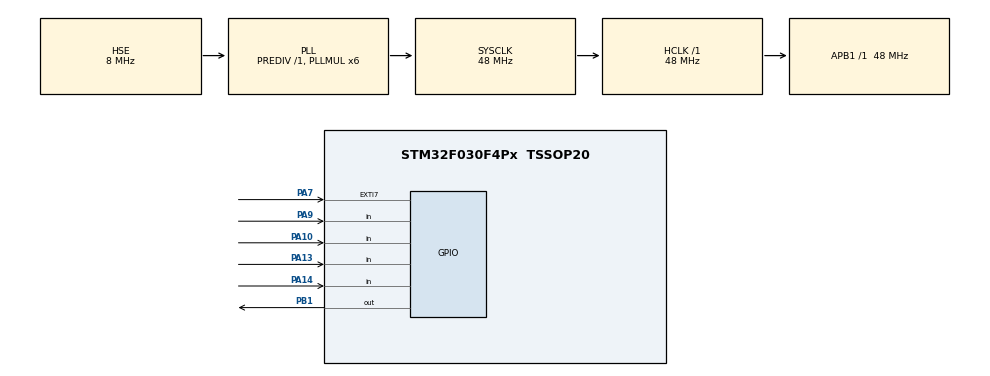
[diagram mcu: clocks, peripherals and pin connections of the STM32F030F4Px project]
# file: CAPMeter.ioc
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Mcu.Family=STM32F0
Mcu.Name=STM32F030F4Px
Mcu.Package=TSSOP20
NVIC.EXTI4_15_IRQn=true\:0\:0\:false\:false\:true
NVIC.TIM1_BRK_UP_TRG_COM_IRQn=true\:0\:0\:false\:false\:true
NVIC.TIM1_CC_IRQn=true\:0\:0\:false\:false\:true
PA10.Signal=GPIO_Input
PA13.Signal=GPIO_Input
PA14.Signal=GPIO_Input
PA7.GPIO_ModeDefaultEXTI=GPIO_MODE_IT_FALLING
PA7.GPIO_PuPd=GPIO_NOPULL
PA7.Signal=GPXTI7
PA9.Signal=GPIO_Input
PB1.GPIO_PuPd=GPIO_PULLDOWN
PB1.GPIO_Speed=GPIO_SPEED_FREQ_HIGH
PB1.PinState=GPIO_PIN_RESET
PB1.Signal=GPIO_Output
PF0-OSC_IN.Mode=HSE-External-Oscillator
PF0-OSC_IN.Signal=RCC_OSC_IN
PF1-OSC_OUT.Mode=HSE-External-Oscillator
PF1-OSC_OUT.Signal=RCC_OSC_OUT
ProjectManager.HeapSize=0x200
ProjectManager.StackSize=0x400
ProjectManager.TargetToolchain=TrueSTUDIO
RCC.AHBFreq_Value=48000000
RCC.APB1Freq_Value=48000000
RCC.APB1TimFreq_Value=48000000
RCC.HCLKFreq_Value=48000000
RCC.PLLMUL=RCC_PLL_MUL6
RCC.PLLSourceVirtual=RCC_PLLSOURCE_HSE
RCC.SYSCLKFreq_VALUE=48000000
RCC.SYSCLKSource=RCC_SYSCLKSOURCE_PLLCLK
TIM1.AutoReloadPreload=TIM_AUTORELOAD_PRELOAD_ENABLE
TIM1.Period=65535
TIM1.Prescaler=1
VP_TIM1_VS_ClockSourceINT.Mode=Internal
board=CAPMeter

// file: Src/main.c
/**
  ******************************************************************************
  * File Name          : main.c
  * Description        : Main program body
  ******************************************************************************
  *
  * COPYRIGHT(c) 2017 STMicroelectronics
  *
  * Redistribution and use in source and binary forms, with or without modification,
  * are permitted provided that the following conditions are met:
  *   1. Redistributions of source code must retain the above copyright notice,
  *      this list of conditions and the following disclaimer.
  *   2. Redistributions in binary form must reproduce the above copyright notice,
  *      this list of conditions and the following disclaimer in the documentation
  *      and/or other materials provided with the distribution.
  *   3. Neither the name of STMicroelectronics nor the names of its contributors
  *      may be used to endorse or promote products derived from this software
  *      without specific prior written permission.
  *
  * THIS SOFTWARE IS PROVIDED BY THE COPYRIGHT HOLDERS AND CONTRIBUTORS "AS IS"
  * AND ANY EXPRESS OR IMPLIED WARRANTIES, INCLUDING, BUT NOT LIMITED TO, THE
  * IMPLIED WARRANTIES OF MERCHANTABILITY AND FITNESS FOR A PARTICULAR PURPOSE ARE
  * DISCLAIMED. IN NO EVENT SHALL THE COPYRIGHT HOLDER OR CONTRIBUTORS BE LIABLE
  * FOR ANY DIRECT, INDIRECT, INCIDENTAL, SPECIAL, EXEMPLARY, OR CONSEQUENTIAL
  * DAMAGES (INCLUDING, BUT NOT LIMITED TO, PROCUREMENT OF SUBSTITUTE GOODS OR
  * SERVICES; LOSS OF USE, DATA, OR PROFITS; OR BUSINESS INTERRUPTION) HOWEVER
  * CAUSED AND ON ANY THEORY OF LIABILITY, WHETHER IN CONTRACT, STRICT LIABILITY,
  * OR TORT (INCLUDING NEGLIGENCE OR OTHERWISE) ARISING IN ANY WAY OUT OF THE USE
  * OF THIS SOFTWARE, EVEN IF ADVISED OF THE POSSIBILITY OF SUCH DAMAGE.
  *
  ******************************************************************************
  */
#include "main.h"
#include "stm32f0xx_hal.h"
#include <stdio.h>
#include <stdlib.h>
#include <stdarg.h>
#include <string.h>
#include <math.h>
/* USER CODE BEGIN Includes */
//#include "lcd_hd44780_stm32f0.h"

#define LCD_PORT_A
#define LCD_RS 0
#define LCD_E 1
#define LCD_RW 6
#define LCD_DB4 2
#define LCD_DB5 3
#define LCD_DB6 4
#define LCD_DB7 5
#include "LCDstm32.h"

/* USER CODE END Includes */

TIM_HandleTypeDef htim1;

/* USER CODE BEGIN PV */
/* Private variables ---------------------------------------------------------*/

/* USER CODE END PV */

void SystemClock_Config(void);
void Error_Handler(void);
static void MX_GPIO_Init(void);
static void MX_TIM1_Init(void);

/* USER CODE BEGIN PFP */
/* Private function prototypes -----------------------------------------------*/

/* USER CODE END PFP */

/* USER CODE BEGIN 0 */
uint32_t cnt = 0;
volatile char externalInterruptFlag = 0;
volatile char externalInterruptSettingFlag = 0;

void HAL_TIM_PeriodElapsedCallback(TIM_HandleTypeDef *htim)
{

	if (htim->Instance==TIM1)
      {

		cnt++;
		HAL_TIM_Base_Start_IT(&htim1);
      }
}

/* USER CODE END 0 */

#define SAMPLE_NUM	10
#define DELAY_FOR_EMPTY_CAP		1000
volatile uint32_t finalsample=0;
static float C0=1;
static float C=0;
static float Er=0;
volatile uint32_t T0=550;
static float distanceValue = 6;

uint32_t sampleing()
{
	uint32_t result=1;
	GPIOB->BSRR = (1<<1);
    HAL_Delay(DELAY_FOR_EMPTY_CAP);
    HAL_TIM_Base_Stop_IT(&htim1);
	GPIOB->BRR = (1<<1);
	__HAL_TIM_SET_COUNTER(&htim1 , 0);
	HAL_TIM_Base_Start_IT(&htim1);
	while(!externalInterruptFlag);
	HAL_TIM_Base_Stop_IT(&htim1);
	externalInterruptFlag=0;
	result = __HAL_TIM_GetCounter(&htim1)+ cnt*65536;
	cnt = 0;
	return result;
}

int main(void)
{
  uint32_t Dint=0;
  uint32_t Dfloat=0;

  /* MCU Configuration----------------------------------------------------------*/

  /* Reset of all peripherals, Initializes the Flash interface and the Systick. */
  GPIOA->MODER = 0x00000000;
  GPIOA->PUPDR = 0x00000000;
  HAL_Init();

  /* Configure the system clock */
  SystemClock_Config();

  /* Initialize all configured peripherals */
  MX_GPIO_Init();
  MX_TIM1_Init();

  /* USER CODE BEGIN 2 */
	lcd_init();
	lcd_clear();
	lcd_gotoxy(1,1);
//////	sprintf(string,"AshkAra Co.");
	lcd_clear();
	lcd_putsf("AshkAra Co.");

//	LCDInit(CURSOR_NONE);

//	LCDWriteStringXY(0,0,"AshkAra !");
/* USER CODE END 2 */
HAL_Delay(1000);

/* USER CODE BEGIN 2 */

/* Infinite loop */
/* USER CODE BEGIN WHILE */
uint32_t value;
char string[16];
volatile int16_t inpPIN = 0;

HAL_TIM_Base_Start_IT(&htim1);
HAL_TIM_Base_Stop_IT(&htim1);
cnt=0;
__HAL_TIM_SET_COUNTER(&htim1 , 0);

while (1)
{
/* USER CODE END WHILE */

	  inpPIN = (GPIOA->IDR & (1<<10));
	  if(inpPIN)
	  {

/*		  GPIOB->BSRR = (1<<1);
		  lcd_clear();
		  lcd_putsf("Please wait...");
		  HAL_Delay(DELAY_FOR_EMPTY_CAP);
		  GPIOB->BRR = (1<<1);
		  __HAL_TIM_SET_COUNTER(&htim1 , 0);
		  HAL_TIM_Base_Start_IT(&htim1);
		  while(!externalInterruptFlag);
		  HAL_TIM_Base_Stop_IT(&htim1);
		  value = __HAL_TIM_GetCounter(&htim1)+ cnt* 65536;
*/
		  lcd_clear();
		  lcd_putsf("Please wait...");
		  value =  sampleing();

/*		  lcd_clear();
		  itoa(value,string,10);
		  lcd_gotoxy(1,1);
		  lcd_putsf("t=");
		  lcd_gotoxy(1,3);
		  lcd_putsf(string);*/
		  C = (float)(abs(value - T0) / 5.75);
		  if(C0 != 0)
			  Er = (float)(( C * distanceValue) / C0);

		  lcd_clear();

		  lcd_gotoxy(1,1);
		  Dint = (uint32_t)C;
		  Dfloat = (uint32_t)((C - Dint) * 100  );
		  lcd_putsf("C=");
		  itoa(Dint,string,10);
		  lcd_putsf(string);
		  lcd_putsf(".");
		  if(Dfloat< 10)
	        	  lcd_putsf("0");
		  itoa(Dfloat,string,10);
    	  lcd_putsf(string);

    	  lcd_gotoxy(2,1);
    	  Dint = (uint32_t)Er ;
    	  Dfloat = (uint32_t)((Er - Dint) * 100  );
    	  lcd_putsf("Er=");
    	  itoa(Dint,string,10);
    	  lcd_putsf(string);
    	  lcd_putsf(".");
    	  if(Dfloat< 10)
    	    	  lcd_putsf("0");
    	  itoa(Dfloat,string,10);
    	  lcd_putsf(string);

		  cnt = 0;
		  externalInterruptFlag = 0;

	  }
	  if(externalInterruptSettingFlag)
	  {
		  //HAL_NVIC_DisableIRQ(EXTI4_15_IRQn);
		  HAL_Delay(300);
		  lcd_clear();
		  lcd_gotoxy(1,1);
		  lcd_putsf("Distance Setting");
		  lcd_gotoxy(2,1);
		  Dint = (uint32_t)distanceValue ;
		  Dfloat = (uint32_t)((distanceValue * 100) - (Dint * 100) );
		  lcd_gotoxy(2,1);
		  lcd_putsf("Distance=");
		  itoa(Dint,string,10);
		  lcd_putsf(string);
		  lcd_putsf(".");
		  itoa(Dfloat,string,10);
		  lcd_putsf(string);
		  externalInterruptSettingFlag=0;
		  while(!externalInterruptSettingFlag)
		  {
			  HAL_Delay(300);
			  inpPIN = (GPIOA->IDR & (1<<13));
			  if(inpPIN)  // incress
			  {
				  HAL_Delay(300);
				  distanceValue += 0.05;
				  lcd_gotoxy(2,10);
				  lcd_putsf("      ");
				  lcd_gotoxy(2,10);
				  Dint = (uint32_t)distanceValue ;
				  Dfloat = (uint32_t)((distanceValue - Dint) * 100  );
				  itoa(Dint,string,10);
				  lcd_putsf(string);
				  lcd_putsf(".");
				  if(Dfloat< 10)
					  lcd_putsf("0");
				  itoa(Dfloat,string,10);
				  lcd_putsf(string);
			  }
			  inpPIN = (GPIOA->IDR & (1<<6));
			  if(inpPIN) // decress
			  {
				  HAL_Delay(300);
				  distanceValue -= 0.05;
				  lcd_gotoxy(2,10);
				  lcd_putsf("      ");
				  lcd_gotoxy(2,10);
				  Dint = (uint32_t)distanceValue ;
				  Dfloat = (uint32_t)((distanceValue - Dint )* 100 );
				  itoa(Dint,string,10);
				  lcd_putsf(string);
				  lcd_putsf(".");
				  if(Dfloat< 10)
					  lcd_putsf("0");
				  itoa(Dfloat,string,10);
				  lcd_putsf(string);

			  }

		  }
		  HAL_Delay(300);
		  externalInterruptSettingFlag=0;

		  lcd_clear();
		  lcd_gotoxy(1,1);
		  lcd_putsf("Calibration");
		  lcd_gotoxy(2,1);
		  lcd_putsf("Free Reference");

		  while(!externalInterruptSettingFlag)
		  {
			  HAL_Delay(300);
			  inpPIN = (GPIOA->IDR & (1<<10));
			  if(inpPIN)
			  {
				  lcd_gotoxy(2,1);
				  lcd_putsf("                ");
				  lcd_gotoxy(2,1);
				  lcd_putsf("Please Wait...");

				  T0 = sampleing();
				  lcd_gotoxy(2,1);
				  lcd_putsf("                ");
  				  itoa(T0,string,10);
  				  lcd_gotoxy(2,1);
  				  lcd_putsf("T0=");
  				  lcd_putsf(string);
			  }
		  }
		  HAL_Delay(300);
		  externalInterruptSettingFlag=0;

		  lcd_clear();
		  lcd_gotoxy(1,1);
		  lcd_putsf("Calibration");
		  lcd_gotoxy(2,1);
		  lcd_putsf("Mate. Reference");

		  while(!externalInterruptSettingFlag)
		  {
			  HAL_Delay(300);
			  inpPIN = (GPIOA->IDR & (1<<10));
			  if(inpPIN)
			  {
				  lcd_gotoxy(2,1);
				  lcd_putsf("                ");
				  lcd_gotoxy(2,1);
				  lcd_putsf("Please Wait...");

				  finalsample = sampleing();
				  lcd_gotoxy(2,1);
				  lcd_putsf("                ");
				  C0 = (float)(abs(finalsample - T0) / 5.75);
				  Dint = (uint32_t)C0 ;
  				  Dfloat = (uint32_t)((C0 - Dint) * 100  );
  			      lcd_gotoxy(2,1);
  				  lcd_putsf("C0=");
  				  itoa(Dint,string,10);
  				  lcd_putsf(string);
  				  lcd_putsf(".");
  				  if(Dfloat< 10)
  					  lcd_putsf("0");
  				  itoa(Dfloat,string,10);
  				  lcd_putsf(string);
			  }
		  }

		  HAL_Delay(300);
		  externalInterruptSettingFlag=0;
		  lcd_clear();

	    }
}
		  //HAL_NVIC_EnableIRQ(EXTI4_15_IRQn);
}

//		LCDWriteStringXY(0,0,"AshkAra3");

/** System Clock Configuration
*/
void SystemClock_Config(void)
{

  RCC_OscInitTypeDef RCC_OscInitStruct;
  RCC_ClkInitTypeDef RCC_ClkInitStruct;

    /**Initializes the CPU, AHB and APB busses clocks
    */
  RCC_OscInitStruct.OscillatorType = RCC_OSCILLATORTYPE_HSE;
  RCC_OscInitStruct.HSEState = RCC_HSE_ON;
  RCC_OscInitStruct.HSIState = RCC_HSI_ON;
  RCC_OscInitStruct.PLL.PLLState = RCC_PLL_ON;
  RCC_OscInitStruct.PLL.PLLSource = RCC_PLLSOURCE_HSE;
  RCC_OscInitStruct.PLL.PLLMUL = RCC_PLL_MUL6;
  RCC_OscInitStruct.PLL.PREDIV = RCC_PREDIV_DIV1;
  if (HAL_RCC_OscConfig(&RCC_OscInitStruct) != HAL_OK)
  {
    Error_Handler();
  }

    /**Initializes the CPU, AHB and APB busses clocks
    */
  RCC_ClkInitStruct.ClockType = RCC_CLOCKTYPE_HCLK|RCC_CLOCKTYPE_SYSCLK
                              |RCC_CLOCKTYPE_PCLK1;
  RCC_ClkInitStruct.SYSCLKSource = RCC_SYSCLKSOURCE_PLLCLK;
  RCC_ClkInitStruct.AHBCLKDivider = RCC_SYSCLK_DIV1;
  RCC_ClkInitStruct.APB1CLKDivider = RCC_HCLK_DIV1;

  if (HAL_RCC_ClockConfig(&RCC_ClkInitStruct, FLASH_LATENCY_1) != HAL_OK)
  {
    Error_Handler();
  }

    /**Configure the Systick interrupt time
    */
  HAL_SYSTICK_Config(HAL_RCC_GetHCLKFreq()/1000);

    /**Configure the Systick
    */
  HAL_SYSTICK_CLKSourceConfig(SYSTICK_CLKSOURCE_HCLK);

  /* SysTick_IRQn interrupt configuration */
  HAL_NVIC_SetPriority(SysTick_IRQn, 0, 0);
}

/* TIM1 init function */
static void MX_TIM1_Init(void)
{

  TIM_ClockConfigTypeDef sClockSourceConfig;
  TIM_MasterConfigTypeDef sMasterConfig;

  htim1.Instance = TIM1;
  htim1.Init.Prescaler = 0;
  htim1.Init.CounterMode = TIM_COUNTERMODE_UP;
  htim1.Init.Period = 0xFFFF;
  htim1.Init.ClockDivision = TIM_CLOCKDIVISION_DIV1;
  htim1.Init.RepetitionCounter = 0;
  htim1.Init.AutoReloadPreload = TIM_AUTORELOAD_PRELOAD_ENABLE;
  if (HAL_TIM_Base_Init(&htim1) != HAL_OK)
  {
    Error_Handler();
  }

  sClockSourceConfig.ClockSource = TIM_CLOCKSOURCE_INTERNAL;
  if (HAL_TIM_ConfigClockSource(&htim1, &sClockSourceConfig) != HAL_OK)
  {
    Error_Handler();
  }

  sMasterConfig.MasterOutputTrigger = TIM_TRGO_RESET;
  sMasterConfig.MasterSlaveMode = TIM_MASTERSLAVEMODE_DISABLE;
  if (HAL_TIMEx_MasterConfigSynchronization(&htim1, &sMasterConfig) != HAL_OK)
  {
    Error_Handler();
  }

}

/** Configure pins as
        * Analog
        * Input
        * Output
        * EVENT_OUT
        * EXTI
*/
static void MX_GPIO_Init(void)
{
  GPIOA->MODER = 0x00000000;
  GPIOA->PUPDR = 0x00000000;

  GPIO_InitTypeDef GPIO_InitStruct;

  /* GPIO Ports Clock Enable */
  __HAL_RCC_GPIOF_CLK_ENABLE();
  __HAL_RCC_GPIOA_CLK_ENABLE();
  __HAL_RCC_GPIOB_CLK_ENABLE();

  /*Configure GPIO pin Output Level */
  HAL_GPIO_WritePin(GPIOB, GPIO_PIN_1, GPIO_PIN_RESET);

  /*Configure GPIO pin : PA7 */
  GPIO_InitStruct.Pin = GPIO_PIN_7;
  GPIO_InitStruct.Mode = GPIO_MODE_IT_FALLING;
  GPIO_InitStruct.Pull = GPIO_NOPULL;
  HAL_GPIO_Init(GPIOA, &GPIO_InitStruct);

  GPIO_InitStruct.Pin = GPIO_PIN_14;
  GPIO_InitStruct.Mode = GPIO_MODE_IT_RISING;
  GPIO_InitStruct.Pull = GPIO_NOPULL;
  HAL_GPIO_Init(GPIOA, &GPIO_InitStruct);

  /*Configure GPIO pin : PB1 */
  GPIO_InitStruct.Pin = GPIO_PIN_1;
  GPIO_InitStruct.Mode = GPIO_MODE_OUTPUT_PP;
  GPIO_InitStruct.Pull = GPIO_PULLDOWN;
  GPIO_InitStruct.Speed = GPIO_SPEED_FREQ_HIGH;
  HAL_GPIO_Init(GPIOB, &GPIO_InitStruct);

  /*Configure GPIO pins : PA9 PA10 PA13 PA14 */
  GPIO_InitStruct.Pin = GPIO_PIN_9|GPIO_PIN_10|GPIO_PIN_13|GPIO_PIN_14;
  GPIO_InitStruct.Mode = GPIO_MODE_INPUT;
  GPIO_InitStruct.Pull = GPIO_NOPULL;
  HAL_GPIO_Init(GPIOA, &GPIO_InitStruct);

  /* EXTI interrupt init*/
  HAL_NVIC_SetPriority(EXTI4_15_IRQn, 0, 0);
  HAL_NVIC_EnableIRQ(EXTI4_15_IRQn);

}

void Error_Handler(void)
{
  while(1)
  {
  }
}

/************************ (C) COPYRIGHT STMicroelectronics *****END OF FILE****/
